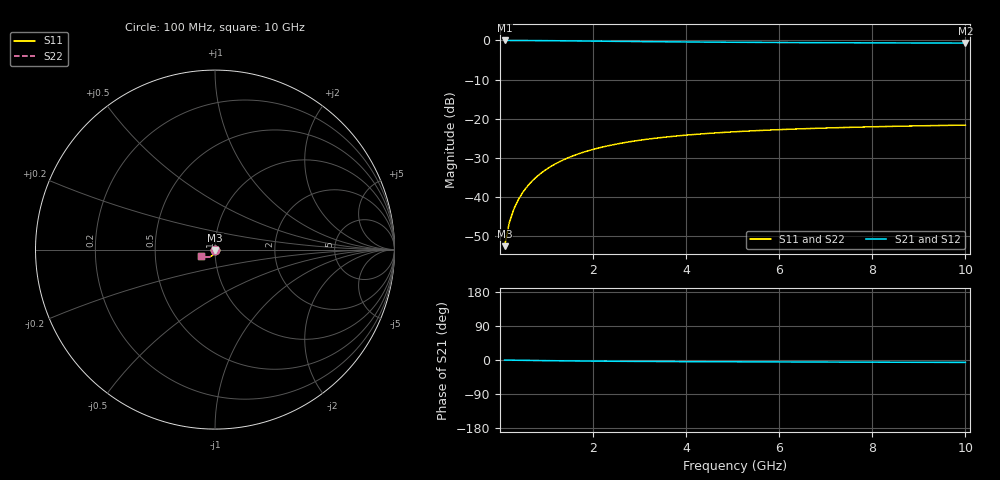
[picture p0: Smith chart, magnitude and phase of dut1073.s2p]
! Touchstone file exported from HFSS 2024.1.0
!  File:  C:/UserFiles/LocalFiles/RDL_TSV_Batchsim/temp_TSV1_1073_1780064592.aedt
!  Generated:  10:31:38 PM May 29, 2026
!  Design:  TSV1
!  Project:  temp_TSV1_1073_1780064592
!  Setup:  Setup1
!  Solution:  Sweep
! Variables:
!  dtsv = 12.52um
!  hbump = 3um
!  htsv = 99.37um
!  lrdl = 252.1521522um
!  p = 40
!  p1 = 41.31um
!  t = 500um
!  trdl = 3um
!  wrdl = 24.89489489um
# GHz S MA R 50.000000
! Terminal data exported
! Port[1] = TSV22_T1
! Port[2] = TSV22_T2
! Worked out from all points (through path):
!   100 points, 100 MHz to 10 GHz, reference 50 ohm
!   highest |S21| = 0.00 dB at 100 MHz (marker M1); lowest = -0.7 dB at 10 GHz (marker M2)
!   lowest |S11| = -52.6 dB at 100 MHz (marker M3), VSWR 1.00, Z = 50 - j0.234 ohm
!   |S11| at or under -10 dB: start of sweep to end of sweep
!   |S22| runs from -52.6 to -21.6 dB; largest |S21 - S12| = 4.5e-15
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0.1  0.002339 -88.9  0.9998 -0.2  0.9998 -0.2  0.002339 -88.9
! Gamma 0 0 0 0
! Port Impedance 50 0 50 0
0.2  0.004676 -91.7  0.9996 -0.4  0.9996 -0.4  0.004676 -91.7
0.3  0.007008 -93.8  0.9992 -0.5  0.9992 -0.5  0.007008 -93.8
0.4  0.009327 -95.6  0.9988 -0.7  0.9988 -0.7  0.009327 -95.6
0.5  0.01162 -97.3  0.9982 -0.9  0.9982 -0.9  0.01162 -97.3
0.6  0.01389 -99.0  0.9975 -1.1  0.9975 -1.1  0.01389 -99.0
0.7  0.01612 -100.7  0.9967 -1.2  0.9967 -1.2  0.01612 -100.7
0.8  0.01831 -102.3  0.9958 -1.4  0.9958 -1.4  0.01831 -102.3
0.9  0.02045 -103.9  0.9948 -1.5  0.9948 -1.5  0.02045 -103.9
1.1  0.02459 -106.9  0.9926 -1.8  0.9926 -1.8  0.02459 -106.9
1.4  0.03039 -111.2  0.9889 -2.2  0.9889 -2.2  0.03039 -111.2
1.6  0.03396 -113.9  0.9863 -2.5  0.9863 -2.5  0.03396 -113.9
1.8  0.0373 -116.5  0.9835 -2.7  0.9835 -2.7  0.0373 -116.5
2.1  0.04188 -120.0  0.9794 -3.0  0.9794 -3.0  0.04188 -120.0
2.5  0.04724 -124.2  0.9739 -3.4  0.9739 -3.4  0.04724 -124.2
2.9  0.05185 -127.9  0.9688 -3.7  0.9688 -3.7  0.05185 -127.9
3.4  0.05673 -131.9  0.9629 -4.0  0.9629 -4.0  0.05673 -131.9
4.2  0.06294 -137.2  0.9548 -4.4  0.9548 -4.4  0.06294 -137.2
5.1  0.06824 -141.9  0.9474 -4.7  0.9474 -4.7  0.06824 -141.9
6.7  0.0749 -148.1  0.9376 -5.3  0.9376 -5.3  0.0749 -148.1
8.4  0.0796 -152.9  0.9304 -5.9  0.9304 -5.9  0.0796 -152.9
10  0.08271 -156.2  0.9255 -6.4  0.9255 -6.4  0.08271 -156.2
